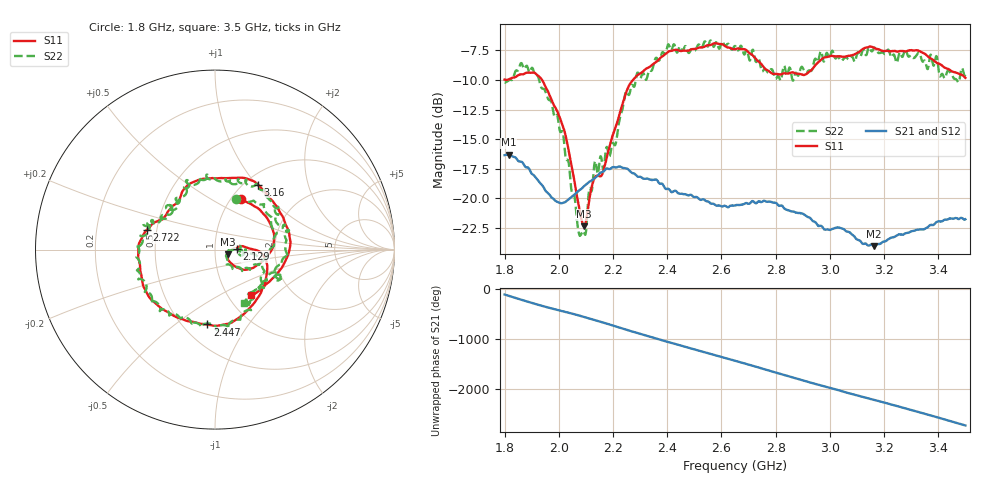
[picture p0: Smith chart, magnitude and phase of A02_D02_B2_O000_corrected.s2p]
! Created with skrf 1.9.0 (http://scikit-rf.org).
# Hz S RI R 50.0
!freq ReS11 ImS11 ReS21 ImS21 ReS12 ImS12 ReS22 ImS22
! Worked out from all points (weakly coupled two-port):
!   1601 points, 1.8 GHz to 3.5 GHz, reference 50 ohm
!   highest |S21| = -16.30 dB at 1.815 GHz (marker M1); lowest = -24.0 dB at 3.162 GHz (marker M2)
!   lowest |S11| = -22.4 dB at 2.093 GHz (marker M3), VSWR 1.16, Z = 57.7 - j2.93 ohm
!   |S11| at or under -10 dB: 1.939 GHz to 2.273 GHz (334.7 MHz wide, 15.9 % of centre)
!   |S22| runs from -23.1 to -6.7 dB; largest |S21 - S12| = 0.0024
!   S11 on the Smith chart (normalised r, x): 1.8 GHz: 1.12, +0.70; 2.129 GHz: 1.27, +0.01; 2.447 GHz: 0.65, -0.66; 2.722 GHz: 0.44, +0.12; 3.16 GHz: 1.15, +1.02; 3.5 GHz: 1.28, -0.72
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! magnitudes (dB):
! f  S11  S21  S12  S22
! 1.8 GHz  -10.0  -16.3  -16.3  -10.2
! 1.815 GHz  -10.0  -16.3  -16.3  -10.0
! 1.902 GHz  -9.4  -17.9  -17.9  -9.0
! 1.969 GHz  -11.4  -19.8  -19.8  -11.7
! 2.023 GHz  -14.5  -20.3  -20.3  -16.2
! 2.084 GHz  -21.8  -19.2  -19.1  -22.9
! 2.093 GHz  -22.4  -19.0  -19.0  -22.8
! 2.129 GHz  -18.4  -18.3  -18.3  -17.5
! 2.162 GHz  -17.8  -17.7  -17.7  -17.4
! 2.208 GHz  -14.1  -17.4  -17.3  -15.5
! 2.26 GHz  -10.4  -17.6  -17.6  -11.2
! 2.367 GHz  -8.3  -18.6  -18.6  -8.3
! 2.447 GHz  -7.5  -19.6  -19.6  -7.2
! 2.65 GHz  -7.4  -20.6  -20.5  -7.1
! 2.722 GHz  -8.1  -20.3  -20.3  -8.0
! 2.812 GHz  -9.5  -20.6  -20.5  -9.7
! 2.934 GHz  -9.1  -21.8  -21.8  -9.2
! 3.16 GHz  -7.2  -24.0  -23.9  -7.4
! 3.162 GHz  -7.3  -24.0  -24.0  -7.3
! 3.217 GHz  -7.6  -23.4  -23.4  -7.5
! 3.327 GHz  -7.5  -22.6  -22.6  -7.7
! 3.5 GHz  -9.8  -21.8  -21.7  -9.5
